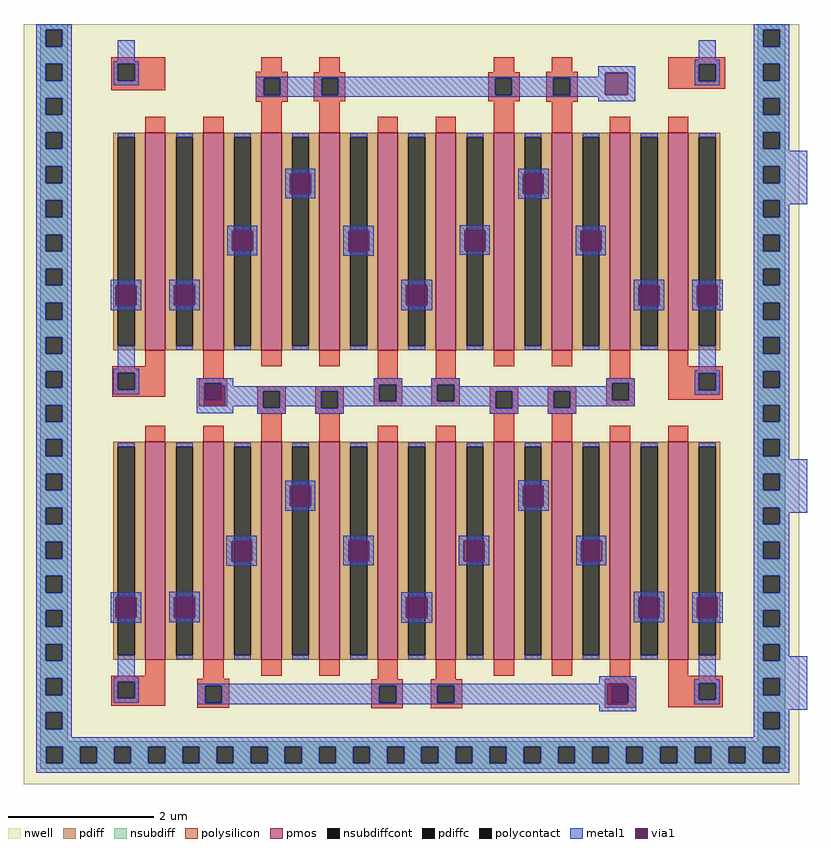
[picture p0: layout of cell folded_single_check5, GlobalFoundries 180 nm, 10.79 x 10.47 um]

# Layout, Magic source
magic
tech gf180mcuC
magscale 1 10
<< nwell >>
rect -3327 -6363 -1192 -4270
<< nsubdiff >>
rect -3282 -4286 -3206 -4270
rect -3282 -4332 -3267 -4286
rect -3221 -4332 -3206 -4286
rect -3282 -4380 -3206 -4332
rect -1306 -4286 -1230 -4270
rect -1306 -4332 -1291 -4286
rect -1245 -4332 -1230 -4286
rect -3282 -4426 -3267 -4380
rect -3221 -4426 -3206 -4380
rect -3282 -4474 -3206 -4426
rect -3282 -4520 -3267 -4474
rect -3221 -4520 -3206 -4474
rect -1306 -4380 -1230 -4332
rect -1306 -4426 -1291 -4380
rect -1245 -4426 -1230 -4380
rect -3282 -4568 -3206 -4520
rect -3282 -4614 -3267 -4568
rect -3221 -4614 -3206 -4568
rect -1306 -4474 -1230 -4426
rect -1306 -4520 -1291 -4474
rect -1245 -4520 -1230 -4474
rect -1306 -4568 -1230 -4520
rect -3282 -4662 -3206 -4614
rect -3282 -4708 -3267 -4662
rect -3221 -4708 -3206 -4662
rect -3282 -4756 -3206 -4708
rect -3282 -4802 -3267 -4756
rect -3221 -4802 -3206 -4756
rect -3282 -4850 -3206 -4802
rect -3282 -4896 -3267 -4850
rect -3221 -4896 -3206 -4850
rect -3282 -4944 -3206 -4896
rect -3282 -4990 -3267 -4944
rect -3221 -4990 -3206 -4944
rect -3282 -5038 -3206 -4990
rect -3282 -5084 -3267 -5038
rect -3221 -5084 -3206 -5038
rect -3282 -5132 -3206 -5084
rect -3282 -5178 -3267 -5132
rect -3221 -5178 -3206 -5132
rect -1306 -4614 -1291 -4568
rect -1245 -4614 -1230 -4568
rect -1306 -4662 -1230 -4614
rect -1306 -4708 -1291 -4662
rect -1245 -4708 -1230 -4662
rect -1306 -4756 -1230 -4708
rect -1306 -4802 -1291 -4756
rect -1245 -4802 -1230 -4756
rect -1306 -4850 -1230 -4802
rect -1306 -4896 -1291 -4850
rect -1245 -4896 -1230 -4850
rect -1306 -4944 -1230 -4896
rect -1306 -4990 -1291 -4944
rect -1245 -4990 -1230 -4944
rect -1306 -5038 -1230 -4990
rect -1306 -5084 -1291 -5038
rect -1245 -5084 -1230 -5038
rect -1306 -5132 -1230 -5084
rect -3282 -5226 -3206 -5178
rect -3282 -5272 -3267 -5226
rect -3221 -5272 -3206 -5226
rect -3282 -5320 -3206 -5272
rect -1306 -5178 -1291 -5132
rect -1245 -5178 -1230 -5132
rect -3282 -5366 -3267 -5320
rect -3221 -5366 -3206 -5320
rect -1306 -5226 -1230 -5178
rect -1306 -5272 -1291 -5226
rect -1245 -5272 -1230 -5226
rect -1306 -5320 -1230 -5272
rect -3282 -5414 -3206 -5366
rect -3282 -5460 -3267 -5414
rect -3221 -5460 -3206 -5414
rect -1306 -5366 -1291 -5320
rect -1245 -5366 -1230 -5320
rect -1306 -5414 -1230 -5366
rect -3282 -5508 -3206 -5460
rect -3282 -5554 -3267 -5508
rect -3221 -5554 -3206 -5508
rect -3282 -5602 -3206 -5554
rect -3282 -5648 -3267 -5602
rect -3221 -5648 -3206 -5602
rect -3282 -5696 -3206 -5648
rect -3282 -5742 -3267 -5696
rect -3221 -5742 -3206 -5696
rect -3282 -5790 -3206 -5742
rect -3282 -5836 -3267 -5790
rect -3221 -5836 -3206 -5790
rect -3282 -5884 -3206 -5836
rect -3282 -5930 -3267 -5884
rect -3221 -5930 -3206 -5884
rect -3282 -5978 -3206 -5930
rect -3282 -6024 -3267 -5978
rect -3221 -6024 -3206 -5978
rect -1306 -5460 -1291 -5414
rect -1245 -5460 -1230 -5414
rect -1306 -5508 -1230 -5460
rect -1306 -5554 -1291 -5508
rect -1245 -5554 -1230 -5508
rect -1306 -5602 -1230 -5554
rect -1306 -5648 -1291 -5602
rect -1245 -5648 -1230 -5602
rect -1306 -5696 -1230 -5648
rect -1306 -5742 -1291 -5696
rect -1245 -5742 -1230 -5696
rect -1306 -5790 -1230 -5742
rect -1306 -5836 -1291 -5790
rect -1245 -5836 -1230 -5790
rect -1306 -5884 -1230 -5836
rect -1306 -5930 -1291 -5884
rect -1245 -5930 -1230 -5884
rect -1306 -5978 -1230 -5930
rect -3282 -6072 -3206 -6024
rect -3282 -6118 -3267 -6072
rect -3221 -6118 -3206 -6072
rect -3282 -6166 -3206 -6118
rect -1306 -6024 -1291 -5978
rect -1245 -6024 -1230 -5978
rect -1306 -6072 -1230 -6024
rect -1306 -6118 -1291 -6072
rect -1245 -6118 -1230 -6072
rect -3282 -6212 -3267 -6166
rect -3221 -6212 -3206 -6166
rect -3282 -6245 -3206 -6212
rect -1306 -6166 -1230 -6118
rect -1306 -6212 -1291 -6166
rect -1245 -6212 -1230 -6166
rect -1306 -6245 -1230 -6212
rect -3282 -6260 -1230 -6245
rect -3282 -6306 -3266 -6260
rect -3220 -6306 -3172 -6260
rect -3126 -6306 -3078 -6260
rect -3032 -6306 -2984 -6260
rect -2938 -6306 -2890 -6260
rect -2844 -6306 -2796 -6260
rect -2750 -6306 -2702 -6260
rect -2656 -6306 -2608 -6260
rect -2562 -6306 -2514 -6260
rect -2468 -6306 -2420 -6260
rect -2374 -6306 -2326 -6260
rect -2280 -6306 -2232 -6260
rect -2186 -6306 -2138 -6260
rect -2092 -6306 -2044 -6260
rect -1998 -6306 -1950 -6260
rect -1904 -6306 -1856 -6260
rect -1810 -6306 -1762 -6260
rect -1716 -6306 -1668 -6260
rect -1622 -6306 -1574 -6260
rect -1528 -6306 -1480 -6260
rect -1434 -6306 -1386 -6260
rect -1340 -6306 -1292 -6260
rect -1246 -6306 -1230 -6260
rect -3282 -6321 -1230 -6306
<< nsubdiffcont >>
rect -3267 -4332 -3221 -4286
rect -1291 -4332 -1245 -4286
rect -3267 -4426 -3221 -4380
rect -3267 -4520 -3221 -4474
rect -1291 -4426 -1245 -4380
rect -3267 -4614 -3221 -4568
rect -1291 -4520 -1245 -4474
rect -3267 -4708 -3221 -4662
rect -3267 -4802 -3221 -4756
rect -3267 -4896 -3221 -4850
rect -3267 -4990 -3221 -4944
rect -3267 -5084 -3221 -5038
rect -3267 -5178 -3221 -5132
rect -1291 -4614 -1245 -4568
rect -1291 -4708 -1245 -4662
rect -1291 -4802 -1245 -4756
rect -1291 -4896 -1245 -4850
rect -1291 -4990 -1245 -4944
rect -1291 -5084 -1245 -5038
rect -3267 -5272 -3221 -5226
rect -1291 -5178 -1245 -5132
rect -3267 -5366 -3221 -5320
rect -1291 -5272 -1245 -5226
rect -3267 -5460 -3221 -5414
rect -1291 -5366 -1245 -5320
rect -3267 -5554 -3221 -5508
rect -3267 -5648 -3221 -5602
rect -3267 -5742 -3221 -5696
rect -3267 -5836 -3221 -5790
rect -3267 -5930 -3221 -5884
rect -3267 -6024 -3221 -5978
rect -1291 -5460 -1245 -5414
rect -1291 -5554 -1245 -5508
rect -1291 -5648 -1245 -5602
rect -1291 -5742 -1245 -5696
rect -1291 -5836 -1245 -5790
rect -1291 -5930 -1245 -5884
rect -3267 -6118 -3221 -6072
rect -1291 -6024 -1245 -5978
rect -1291 -6118 -1245 -6072
rect -3267 -6212 -3221 -6166
rect -1291 -6212 -1245 -6166
rect -3266 -6306 -3220 -6260
rect -3172 -6306 -3126 -6260
rect -3078 -6306 -3032 -6260
rect -2984 -6306 -2938 -6260
rect -2890 -6306 -2844 -6260
rect -2796 -6306 -2750 -6260
rect -2702 -6306 -2656 -6260
rect -2608 -6306 -2562 -6260
rect -2514 -6306 -2468 -6260
rect -2420 -6306 -2374 -6260
rect -2326 -6306 -2280 -6260
rect -2232 -6306 -2186 -6260
rect -2138 -6306 -2092 -6260
rect -2044 -6306 -1998 -6260
rect -1950 -6306 -1904 -6260
rect -1856 -6306 -1810 -6260
rect -1762 -6306 -1716 -6260
rect -1668 -6306 -1622 -6260
rect -1574 -6306 -1528 -6260
rect -1480 -6306 -1434 -6260
rect -1386 -6306 -1340 -6260
rect -1292 -6306 -1246 -6260
<< polysilicon >>
rect -3086 -4380 -2937 -4361
rect -3086 -4426 -3068 -4380
rect -3022 -4426 -2937 -4380
rect -2673 -4402 -2617 -4361
rect -3086 -4453 -2937 -4426
rect -2688 -4420 -2601 -4402
rect -2513 -4403 -2457 -4361
rect -2033 -4403 -1977 -4361
rect -1873 -4402 -1817 -4361
rect -1553 -4381 -1396 -4361
rect -2688 -4466 -2667 -4420
rect -2621 -4466 -2601 -4420
rect -2688 -4484 -2601 -4466
rect -2529 -4420 -2442 -4403
rect -2529 -4466 -2507 -4420
rect -2461 -4466 -2442 -4420
rect -2529 -4483 -2442 -4466
rect -2048 -4420 -1961 -4403
rect -2048 -4466 -2029 -4420
rect -1983 -4466 -1961 -4420
rect -2048 -4483 -1961 -4466
rect -1889 -4420 -1802 -4402
rect -1889 -4466 -1869 -4420
rect -1823 -4466 -1802 -4420
rect -1553 -4427 -1468 -4381
rect -1422 -4427 -1396 -4381
rect -1553 -4448 -1396 -4427
rect -2993 -4569 -2937 -4525
rect -2833 -4569 -2777 -4525
rect -2673 -4569 -2617 -4484
rect -2513 -4569 -2457 -4483
rect -2353 -4569 -2297 -4525
rect -2193 -4569 -2137 -4525
rect -2033 -4569 -1977 -4483
rect -1889 -4484 -1802 -4466
rect -1873 -4569 -1817 -4484
rect -1713 -4569 -1657 -4525
rect -1553 -4569 -1497 -4525
rect -2993 -5213 -2937 -5169
rect -3083 -5231 -2937 -5213
rect -3083 -5277 -3068 -5231
rect -3022 -5277 -2937 -5231
rect -2833 -5246 -2777 -5169
rect -2673 -5213 -2617 -5169
rect -2513 -5213 -2457 -5169
rect -2353 -5246 -2297 -5169
rect -2193 -5246 -2137 -5169
rect -2033 -5213 -1977 -5169
rect -1873 -5213 -1817 -5169
rect -1713 -5246 -1657 -5169
rect -1553 -5213 -1497 -5169
rect -1553 -5232 -1403 -5213
rect -3083 -5296 -2937 -5277
rect -2845 -5260 -2767 -5246
rect -2845 -5306 -2829 -5260
rect -2783 -5306 -2767 -5260
rect -2363 -5263 -2285 -5246
rect -2845 -5323 -2767 -5306
rect -2684 -5281 -2606 -5267
rect -2684 -5327 -2668 -5281
rect -2622 -5327 -2606 -5281
rect -2684 -5344 -2606 -5327
rect -2524 -5282 -2446 -5267
rect -2524 -5328 -2508 -5282
rect -2462 -5328 -2446 -5282
rect -2363 -5309 -2348 -5263
rect -2302 -5309 -2285 -5263
rect -2363 -5323 -2285 -5309
rect -2205 -5263 -2127 -5246
rect -2205 -5309 -2188 -5263
rect -2142 -5309 -2127 -5263
rect -1723 -5260 -1645 -5246
rect -2205 -5323 -2127 -5309
rect -2044 -5282 -1966 -5267
rect -2524 -5344 -2446 -5328
rect -2044 -5328 -2028 -5282
rect -1982 -5328 -1966 -5282
rect -2044 -5344 -1966 -5328
rect -1884 -5281 -1806 -5267
rect -1884 -5327 -1868 -5281
rect -1822 -5327 -1806 -5281
rect -1723 -5306 -1707 -5260
rect -1661 -5306 -1645 -5260
rect -1553 -5278 -1468 -5232
rect -1422 -5278 -1403 -5232
rect -1553 -5305 -1403 -5278
rect -1723 -5323 -1645 -5306
rect -1884 -5344 -1806 -5327
rect -2993 -5421 -2937 -5377
rect -2833 -5421 -2777 -5377
rect -2673 -5421 -2617 -5344
rect -2513 -5421 -2457 -5344
rect -2353 -5421 -2297 -5377
rect -2193 -5421 -2137 -5377
rect -2033 -5421 -1977 -5344
rect -1873 -5421 -1817 -5344
rect -1713 -5421 -1657 -5377
rect -1553 -5421 -1497 -5377
rect -2993 -6065 -2937 -6021
rect -3086 -6081 -2937 -6065
rect -2833 -6073 -2777 -6021
rect -2673 -6065 -2617 -6021
rect -2513 -6065 -2457 -6021
rect -3086 -6127 -3068 -6081
rect -3022 -6127 -2937 -6081
rect -3086 -6147 -2937 -6127
rect -2849 -6093 -2762 -6073
rect -2353 -6075 -2297 -6021
rect -2193 -6075 -2137 -6021
rect -2033 -6065 -1977 -6021
rect -1873 -6065 -1817 -6021
rect -1713 -6073 -1657 -6021
rect -1553 -6065 -1497 -6021
rect -2849 -6139 -2828 -6093
rect -2782 -6139 -2762 -6093
rect -2849 -6153 -2762 -6139
rect -2370 -6093 -2283 -6075
rect -2370 -6139 -2348 -6093
rect -2302 -6139 -2283 -6093
rect -2370 -6155 -2283 -6139
rect -2207 -6093 -2120 -6075
rect -2207 -6139 -2188 -6093
rect -2142 -6139 -2120 -6093
rect -2207 -6155 -2120 -6139
rect -1728 -6093 -1641 -6073
rect -1728 -6139 -1708 -6093
rect -1662 -6139 -1641 -6093
rect -1728 -6153 -1641 -6139
rect -1553 -6085 -1403 -6065
rect -1553 -6131 -1468 -6085
rect -1422 -6131 -1403 -6085
rect -1553 -6152 -1403 -6131
<< polycontact >>
rect -3068 -4426 -3022 -4380
rect -2667 -4466 -2621 -4420
rect -2507 -4466 -2461 -4420
rect -2029 -4466 -1983 -4420
rect -1869 -4466 -1823 -4420
rect -1468 -4427 -1422 -4381
rect -3068 -5277 -3022 -5231
rect -2829 -5306 -2783 -5260
rect -2668 -5327 -2622 -5281
rect -2508 -5328 -2462 -5282
rect -2348 -5309 -2302 -5263
rect -2188 -5309 -2142 -5263
rect -2028 -5328 -1982 -5282
rect -1868 -5327 -1822 -5281
rect -1707 -5306 -1661 -5260
rect -1468 -5278 -1422 -5232
rect -3068 -6127 -3022 -6081
rect -2828 -6139 -2782 -6093
rect -2348 -6139 -2302 -6093
rect -2188 -6139 -2142 -6093
rect -1708 -6139 -1662 -6093
rect -1468 -6131 -1422 -6085
<< metal1 >>
rect -3293 -4286 -3195 -4270
rect -3293 -4332 -3267 -4286
rect -3221 -4332 -3195 -4286
rect -1317 -4286 -1219 -4270
rect -3293 -4380 -3195 -4332
rect -3068 -4373 -3022 -4315
rect -1468 -4369 -1422 -4315
rect -1317 -4332 -1291 -4286
rect -1245 -4332 -1219 -4286
rect -3293 -4426 -3267 -4380
rect -3221 -4426 -3195 -4380
rect -3293 -4474 -3195 -4426
rect -3080 -4380 -3010 -4373
rect -3080 -4426 -3068 -4380
rect -3022 -4426 -3010 -4380
rect -1480 -4381 -1410 -4369
rect -1745 -4404 -1644 -4386
rect -1745 -4415 -1726 -4404
rect -3080 -4439 -3010 -4426
rect -2688 -4420 -1726 -4415
rect -2688 -4466 -2667 -4420
rect -2621 -4466 -2507 -4420
rect -2461 -4466 -2029 -4420
rect -1983 -4466 -1869 -4420
rect -1823 -4465 -1726 -4420
rect -1664 -4465 -1644 -4404
rect -1480 -4427 -1468 -4381
rect -1422 -4427 -1410 -4381
rect -1480 -4439 -1410 -4427
rect -1317 -4380 -1219 -4332
rect -1317 -4426 -1291 -4380
rect -1245 -4426 -1219 -4380
rect -1823 -4466 -1644 -4465
rect -2688 -4471 -1644 -4466
rect -3293 -4520 -3267 -4474
rect -3221 -4520 -3195 -4474
rect -1745 -4483 -1644 -4471
rect -1317 -4474 -1219 -4426
rect -3293 -4568 -3195 -4520
rect -3293 -4614 -3267 -4568
rect -3221 -4614 -3195 -4568
rect -1317 -4520 -1291 -4474
rect -1245 -4520 -1219 -4474
rect -1317 -4568 -1219 -4520
rect -3068 -4582 -3022 -4571
rect -2908 -4582 -2862 -4571
rect -2748 -4582 -2702 -4571
rect -2588 -4582 -2542 -4571
rect -2428 -4582 -2382 -4571
rect -2268 -4582 -2222 -4571
rect -2108 -4582 -2062 -4571
rect -1948 -4582 -1902 -4571
rect -1788 -4582 -1742 -4571
rect -1628 -4582 -1582 -4571
rect -1468 -4582 -1422 -4571
rect -3293 -4662 -3195 -4614
rect -3293 -4708 -3267 -4662
rect -3221 -4708 -3195 -4662
rect -1317 -4614 -1291 -4568
rect -1245 -4614 -1219 -4568
rect -1317 -4619 -1219 -4614
rect -1317 -4662 -1170 -4619
rect -3293 -4756 -3195 -4708
rect -2607 -4682 -2524 -4668
rect -2607 -4738 -2593 -4682
rect -2537 -4738 -2524 -4682
rect -2607 -4750 -2524 -4738
rect -1965 -4682 -1882 -4669
rect -1965 -4738 -1952 -4682
rect -1896 -4738 -1882 -4682
rect -1965 -4751 -1882 -4738
rect -1317 -4708 -1291 -4662
rect -1245 -4708 -1170 -4662
rect -3293 -4802 -3267 -4756
rect -3221 -4802 -3195 -4756
rect -3293 -4850 -3195 -4802
rect -1317 -4756 -1170 -4708
rect -1317 -4802 -1291 -4756
rect -1245 -4766 -1170 -4756
rect -1245 -4802 -1219 -4766
rect -3293 -4896 -3267 -4850
rect -3221 -4896 -3195 -4850
rect -3293 -4944 -3195 -4896
rect -2767 -4839 -2684 -4825
rect -2767 -4895 -2753 -4839
rect -2697 -4895 -2684 -4839
rect -2767 -4907 -2684 -4895
rect -2447 -4840 -2364 -4826
rect -2447 -4896 -2433 -4840
rect -2377 -4896 -2364 -4840
rect -2447 -4908 -2364 -4896
rect -2127 -4838 -2044 -4824
rect -2127 -4894 -2113 -4838
rect -2057 -4894 -2044 -4838
rect -2127 -4906 -2044 -4894
rect -1807 -4839 -1724 -4825
rect -1807 -4895 -1793 -4839
rect -1737 -4895 -1724 -4839
rect -1807 -4907 -1724 -4895
rect -1317 -4850 -1219 -4802
rect -1317 -4896 -1291 -4850
rect -1245 -4896 -1219 -4850
rect -3293 -4990 -3267 -4944
rect -3221 -4990 -3195 -4944
rect -1317 -4944 -1219 -4896
rect -3293 -5038 -3195 -4990
rect -3293 -5084 -3267 -5038
rect -3221 -5084 -3195 -5038
rect -3088 -4989 -3004 -4975
rect -3088 -5045 -3074 -4989
rect -3018 -5045 -3004 -4989
rect -3088 -5059 -3004 -5045
rect -2927 -4989 -2843 -4974
rect -2927 -5045 -2913 -4989
rect -2857 -5045 -2843 -4989
rect -2927 -5058 -2843 -5045
rect -2288 -4989 -2202 -4975
rect -2288 -5045 -2274 -4989
rect -2216 -5045 -2202 -4989
rect -2288 -5059 -2202 -5045
rect -1647 -4989 -1563 -4974
rect -1647 -5045 -1633 -4989
rect -1577 -5045 -1563 -4989
rect -1647 -5058 -1563 -5045
rect -1487 -4989 -1403 -4975
rect -1487 -5045 -1473 -4989
rect -1417 -5045 -1403 -4989
rect -1487 -5059 -1403 -5045
rect -1317 -4990 -1291 -4944
rect -1245 -4990 -1219 -4944
rect -1317 -5038 -1219 -4990
rect -3293 -5132 -3195 -5084
rect -3293 -5178 -3267 -5132
rect -3221 -5178 -3195 -5132
rect -1317 -5084 -1291 -5038
rect -1245 -5084 -1219 -5038
rect -1317 -5132 -1219 -5084
rect -3293 -5226 -3195 -5178
rect -3068 -5219 -3022 -5156
rect -2908 -5167 -2862 -5156
rect -2748 -5167 -2702 -5156
rect -2588 -5167 -2542 -5156
rect -2428 -5167 -2382 -5156
rect -2268 -5167 -2222 -5156
rect -2108 -5167 -2062 -5156
rect -1948 -5167 -1902 -5156
rect -1788 -5167 -1742 -5156
rect -1628 -5167 -1582 -5156
rect -3293 -5272 -3267 -5226
rect -3221 -5272 -3195 -5226
rect -3293 -5320 -3195 -5272
rect -3081 -5231 -3009 -5219
rect -1468 -5223 -1422 -5156
rect -1317 -5178 -1291 -5132
rect -1245 -5178 -1219 -5132
rect -3081 -5277 -3068 -5231
rect -3022 -5277 -3009 -5231
rect -1480 -5232 -1410 -5223
rect -3081 -5289 -3009 -5277
rect -2851 -5260 -2750 -5245
rect -2851 -5266 -2829 -5260
rect -2783 -5266 -2750 -5260
rect -3293 -5366 -3267 -5320
rect -3221 -5366 -3195 -5320
rect -2851 -5322 -2830 -5266
rect -2774 -5267 -2750 -5266
rect -2363 -5263 -2285 -5246
rect -2363 -5267 -2348 -5263
rect -2774 -5281 -2348 -5267
rect -2774 -5322 -2668 -5281
rect -2851 -5323 -2668 -5322
rect -2851 -5342 -2750 -5323
rect -2684 -5327 -2668 -5323
rect -2622 -5282 -2348 -5281
rect -2622 -5323 -2508 -5282
rect -2622 -5327 -2606 -5323
rect -2684 -5344 -2606 -5327
rect -2524 -5328 -2508 -5323
rect -2462 -5309 -2348 -5282
rect -2302 -5267 -2285 -5263
rect -2205 -5263 -2127 -5246
rect -2205 -5267 -2188 -5263
rect -2302 -5309 -2188 -5267
rect -2142 -5267 -2127 -5263
rect -1723 -5260 -1645 -5246
rect -1723 -5267 -1707 -5260
rect -2142 -5281 -1707 -5267
rect -2142 -5282 -1868 -5281
rect -2142 -5309 -2028 -5282
rect -2462 -5323 -2028 -5309
rect -2462 -5328 -2446 -5323
rect -2524 -5344 -2446 -5328
rect -2044 -5328 -2028 -5323
rect -1982 -5323 -1868 -5282
rect -1982 -5328 -1966 -5323
rect -2044 -5344 -1966 -5328
rect -1884 -5327 -1868 -5323
rect -1822 -5306 -1707 -5281
rect -1661 -5306 -1645 -5260
rect -1480 -5278 -1468 -5232
rect -1422 -5278 -1410 -5232
rect -1480 -5291 -1410 -5278
rect -1317 -5226 -1219 -5178
rect -1317 -5272 -1291 -5226
rect -1245 -5272 -1219 -5226
rect -1822 -5323 -1645 -5306
rect -1317 -5320 -1219 -5272
rect -1822 -5327 -1806 -5323
rect -1884 -5344 -1806 -5327
rect -3293 -5414 -3195 -5366
rect -3293 -5460 -3267 -5414
rect -3221 -5460 -3195 -5414
rect -1317 -5366 -1291 -5320
rect -1245 -5366 -1219 -5320
rect -1317 -5414 -1219 -5366
rect -3068 -5434 -3022 -5423
rect -2908 -5434 -2862 -5423
rect -2748 -5434 -2702 -5423
rect -2588 -5434 -2542 -5423
rect -2428 -5434 -2382 -5423
rect -2268 -5434 -2222 -5423
rect -2108 -5434 -2062 -5423
rect -1948 -5434 -1902 -5423
rect -1788 -5434 -1742 -5423
rect -1628 -5434 -1582 -5423
rect -1468 -5434 -1422 -5423
rect -3293 -5508 -3195 -5460
rect -3293 -5554 -3267 -5508
rect -3221 -5554 -3195 -5508
rect -1317 -5460 -1291 -5414
rect -1245 -5460 -1219 -5414
rect -1317 -5469 -1219 -5460
rect -1317 -5508 -1170 -5469
rect -3293 -5602 -3195 -5554
rect -3293 -5648 -3267 -5602
rect -3221 -5648 -3195 -5602
rect -2607 -5542 -2524 -5528
rect -2607 -5598 -2593 -5542
rect -2537 -5598 -2524 -5542
rect -2607 -5610 -2524 -5598
rect -1965 -5542 -1882 -5527
rect -1965 -5598 -1952 -5542
rect -1896 -5598 -1882 -5542
rect -1965 -5611 -1882 -5598
rect -1317 -5554 -1291 -5508
rect -1245 -5554 -1170 -5508
rect -1317 -5602 -1170 -5554
rect -3293 -5696 -3195 -5648
rect -1317 -5648 -1291 -5602
rect -1245 -5616 -1170 -5602
rect -1245 -5648 -1219 -5616
rect -3293 -5742 -3267 -5696
rect -3221 -5742 -3195 -5696
rect -3293 -5790 -3195 -5742
rect -2769 -5694 -2686 -5680
rect -2769 -5750 -2755 -5694
rect -2699 -5750 -2686 -5694
rect -2769 -5762 -2686 -5750
rect -2447 -5693 -2364 -5679
rect -2447 -5749 -2433 -5693
rect -2377 -5749 -2364 -5693
rect -2447 -5761 -2364 -5749
rect -2129 -5693 -2046 -5679
rect -2129 -5749 -2115 -5693
rect -2059 -5749 -2046 -5693
rect -2129 -5761 -2046 -5749
rect -1806 -5693 -1723 -5679
rect -1806 -5749 -1792 -5693
rect -1736 -5749 -1723 -5693
rect -1806 -5761 -1723 -5749
rect -1317 -5696 -1219 -5648
rect -1317 -5742 -1291 -5696
rect -1245 -5742 -1219 -5696
rect -3293 -5836 -3267 -5790
rect -3221 -5836 -3195 -5790
rect -1317 -5790 -1219 -5742
rect -3293 -5884 -3195 -5836
rect -3293 -5930 -3267 -5884
rect -3221 -5930 -3195 -5884
rect -3088 -5849 -3004 -5835
rect -3088 -5905 -3074 -5849
rect -3018 -5905 -3004 -5849
rect -3088 -5919 -3004 -5905
rect -2927 -5849 -2843 -5834
rect -2927 -5905 -2913 -5849
rect -2857 -5905 -2843 -5849
rect -2927 -5918 -2843 -5905
rect -2288 -5849 -2202 -5835
rect -2288 -5905 -2274 -5849
rect -2216 -5905 -2202 -5849
rect -2288 -5919 -2202 -5905
rect -1647 -5849 -1563 -5834
rect -1647 -5905 -1633 -5849
rect -1577 -5905 -1563 -5849
rect -1647 -5918 -1563 -5905
rect -1487 -5849 -1403 -5835
rect -1487 -5905 -1473 -5849
rect -1417 -5905 -1403 -5849
rect -1487 -5919 -1403 -5905
rect -1317 -5836 -1291 -5790
rect -1245 -5836 -1219 -5790
rect -1317 -5884 -1219 -5836
rect -3293 -5978 -3195 -5930
rect -3293 -6024 -3267 -5978
rect -3221 -6024 -3195 -5978
rect -1317 -5930 -1291 -5884
rect -1245 -5930 -1219 -5884
rect -1317 -5978 -1219 -5930
rect -3293 -6072 -3195 -6024
rect -3068 -6069 -3022 -6008
rect -2908 -6019 -2862 -6008
rect -2748 -6019 -2702 -6008
rect -2588 -6019 -2542 -6008
rect -2428 -6019 -2382 -6008
rect -2268 -6019 -2222 -6008
rect -2108 -6019 -2062 -6008
rect -1948 -6019 -1902 -6008
rect -1788 -6019 -1742 -6008
rect -1628 -6019 -1582 -6008
rect -3293 -6118 -3267 -6072
rect -3221 -6118 -3195 -6072
rect -3293 -6166 -3195 -6118
rect -3080 -6081 -3011 -6069
rect -3080 -6127 -3068 -6081
rect -3022 -6127 -3011 -6081
rect -1742 -6087 -1641 -6066
rect -1468 -6074 -1422 -6008
rect -1317 -6024 -1291 -5978
rect -1245 -6011 -1219 -5978
rect -1245 -6024 -1170 -6011
rect -1317 -6072 -1170 -6024
rect -3080 -6139 -3011 -6127
rect -2849 -6093 -1721 -6087
rect -1665 -6093 -1641 -6087
rect -2849 -6139 -2828 -6093
rect -2782 -6139 -2348 -6093
rect -2302 -6139 -2188 -6093
rect -2142 -6139 -1721 -6093
rect -1662 -6139 -1641 -6093
rect -2849 -6143 -1721 -6139
rect -1665 -6143 -1641 -6139
rect -1481 -6085 -1410 -6074
rect -1481 -6131 -1468 -6085
rect -1422 -6131 -1410 -6085
rect -1481 -6143 -1410 -6131
rect -1317 -6118 -1291 -6072
rect -1245 -6118 -1170 -6072
rect -1742 -6163 -1641 -6143
rect -1317 -6158 -1170 -6118
rect -3293 -6212 -3267 -6166
rect -3221 -6212 -3195 -6166
rect -3293 -6234 -3195 -6212
rect -1317 -6166 -1219 -6158
rect -1317 -6212 -1291 -6166
rect -1245 -6212 -1219 -6166
rect -1317 -6234 -1219 -6212
rect -3293 -6260 -1219 -6234
rect -3293 -6306 -3266 -6260
rect -3220 -6306 -3172 -6260
rect -3126 -6306 -3078 -6260
rect -3032 -6306 -2984 -6260
rect -2938 -6306 -2890 -6260
rect -2844 -6306 -2796 -6260
rect -2750 -6306 -2702 -6260
rect -2656 -6306 -2608 -6260
rect -2562 -6306 -2514 -6260
rect -2468 -6306 -2420 -6260
rect -2374 -6306 -2326 -6260
rect -2280 -6306 -2232 -6260
rect -2186 -6306 -2138 -6260
rect -2092 -6306 -2044 -6260
rect -1998 -6306 -1950 -6260
rect -1904 -6306 -1856 -6260
rect -1810 -6306 -1762 -6260
rect -1716 -6306 -1668 -6260
rect -1622 -6306 -1574 -6260
rect -1528 -6306 -1480 -6260
rect -1434 -6306 -1386 -6260
rect -1340 -6306 -1292 -6260
rect -1246 -6306 -1219 -6260
rect -3293 -6332 -1219 -6306
<< via1 >>
rect -1726 -4465 -1664 -4404
rect -2593 -4738 -2537 -4682
rect -1952 -4738 -1896 -4682
rect -2753 -4895 -2697 -4839
rect -2433 -4896 -2377 -4840
rect -2113 -4894 -2057 -4838
rect -1793 -4895 -1737 -4839
rect -3074 -5045 -3018 -4989
rect -2913 -5045 -2857 -4989
rect -2274 -5045 -2216 -4989
rect -1633 -5045 -1577 -4989
rect -1473 -5045 -1417 -4989
rect -2830 -5306 -2829 -5266
rect -2829 -5306 -2783 -5266
rect -2783 -5306 -2774 -5266
rect -2830 -5322 -2774 -5306
rect -2593 -5598 -2537 -5542
rect -1952 -5598 -1896 -5542
rect -2755 -5750 -2699 -5694
rect -2433 -5749 -2377 -5693
rect -2115 -5749 -2059 -5693
rect -1792 -5749 -1736 -5693
rect -3074 -5905 -3018 -5849
rect -2913 -5905 -2857 -5849
rect -2274 -5905 -2216 -5849
rect -1633 -5905 -1577 -5849
rect -1473 -5905 -1417 -5849
rect -1721 -6093 -1665 -6087
rect -1721 -6139 -1708 -6093
rect -1708 -6139 -1665 -6093
rect -1721 -6143 -1665 -6139
use pmos_3p3_M22VAR  pmos_3p3_M22VAR_2
transform -1 0 -1925 0 -1 -4869
box -282 -430 282 430
use pmos_3p3_M22VAR  pmos_3p3_M22VAR_3
transform -1 0 -1925 0 -1 -5721
box -282 -430 282 430
use pmos_3p3_M22VAR  pmos_3p3_M22VAR_4
transform 1 0 -2565 0 -1 -4869
box -282 -430 282 430
use pmos_3p3_M22VAR  pmos_3p3_M22VAR_5
transform 1 0 -2565 0 -1 -5721
box -282 -430 282 430
use pmos_3p3_MA2VAR  pmos_3p3_MA2VAR_8
transform -1 0 -1525 0 -1 -4869
box -202 -430 202 430
use pmos_3p3_MA2VAR  pmos_3p3_MA2VAR_9
transform -1 0 -1685 0 -1 -4869
box -202 -430 202 430
use pmos_3p3_MA2VAR  pmos_3p3_MA2VAR_10
transform -1 0 -2165 0 -1 -4869
box -202 -430 202 430
use pmos_3p3_MA2VAR  pmos_3p3_MA2VAR_11
transform -1 0 -1685 0 -1 -5721
box -202 -430 202 430
use pmos_3p3_MA2VAR  pmos_3p3_MA2VAR_12
transform -1 0 -1525 0 -1 -5721
box -202 -430 202 430
use pmos_3p3_MA2VAR  pmos_3p3_MA2VAR_13
transform -1 0 -2165 0 -1 -5721
box -202 -430 202 430
use pmos_3p3_MA2VAR  pmos_3p3_MA2VAR_16
transform 1 0 -2805 0 -1 -4869
box -202 -430 202 430
use pmos_3p3_MA2VAR  pmos_3p3_MA2VAR_17
transform 1 0 -2965 0 -1 -4869
box -202 -430 202 430
use pmos_3p3_MA2VAR  pmos_3p3_MA2VAR_18
transform 1 0 -2325 0 -1 -4869
box -202 -430 202 430
use pmos_3p3_MA2VAR  pmos_3p3_MA2VAR_20
transform 1 0 -2805 0 -1 -5721
box -202 -430 202 430
use pmos_3p3_MA2VAR  pmos_3p3_MA2VAR_21
transform 1 0 -2965 0 -1 -5721
box -202 -430 202 430
use pmos_3p3_MA2VAR  pmos_3p3_MA2VAR_22
transform 1 0 -2325 0 -1 -5721
box -202 -430 202 430
<< end >>

# cell pmos_3p3_M22VAR: kit device pmos_3p3, w 3 l 0.280 m 1 nf 2 diffcov 100 polycov 100 guard 0 glc 0 grc 0 gtc 0 gbc 0 tbcov 100 rlcov 100 topc 0 botc 0 poverlap 0 doverlap 1 lmin 0.28 wmin 0.22 full_metal 0 compatible {pmos_3p3 pmos_6p0}

# cell pmos_3p3_MA2VAR: kit device pmos_3p3, w 3 l 0.280 m 1 nf 1 diffcov 100 polycov 100 guard 0 glc 0 grc 0 gtc 0 gbc 0 tbcov 100 rlcov 100 topc 0 botc 0 poverlap 0 doverlap 1 lmin 0.28 wmin 0.22 full_metal 0 compatible {pmos_3p3 pmos_6p0}
